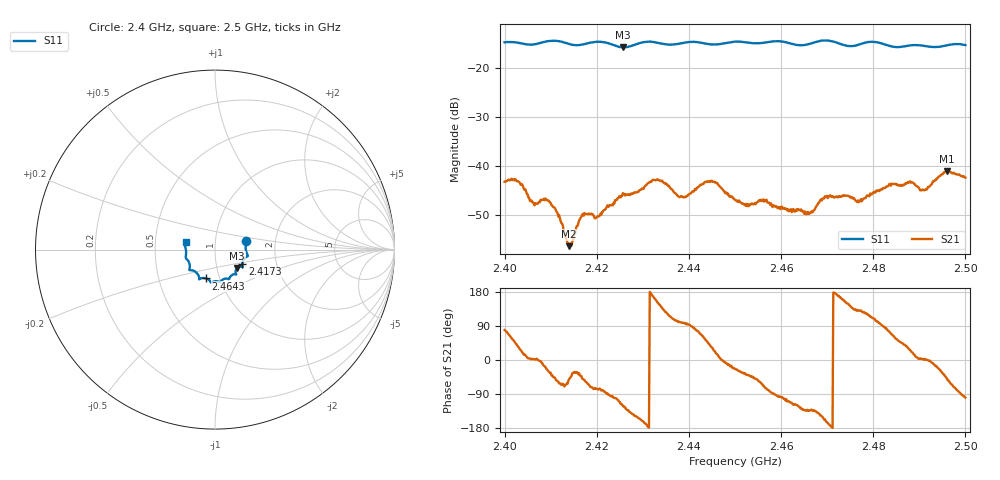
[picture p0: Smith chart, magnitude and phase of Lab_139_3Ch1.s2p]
# Hz S RI R 50
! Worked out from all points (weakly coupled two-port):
!   601 points, 2.4 GHz to 2.5 GHz, reference 50 ohm
!   highest |S21| = -41.05 dB at 2.496 GHz (marker M1); lowest = -56.2 dB at 2.414 GHz (marker M2)
!   lowest |S11| = -15.9 dB at 2.4257 GHz (marker M3), VSWR 1.38, Z = 62.5 - j13.2 ohm
!   |S11| at or under -10 dB: start of sweep to end of sweep
!   S12 and S22 are empty: the file has one direction only
!   S11 on the Smith chart (normalised r, x): 2.4 GHz: 1.41, +0.14; 2.4173 GHz: 1.34, -0.23; 2.4643 GHz: 0.86, -0.28; 2.5 GHz: 0.72, +0.06
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2.4e9  0.1736 0.0485  0.00131 0.00681  0 0  0 0
2.402833e9  0.1751 0.0353  0.00565 0.0042  0 0  0 0
2.4065e9  0.172 -0.00462  0.00399 0.000139  0 0  0 0
2.4095e9  0.1824 -0.0318  0.0039 -0.0022  0 0  0 0
2.4115e9  0.1821 -0.0364  0.00185 -0.00276  0 0  0 0
2.414e9  0.1665 -0.0471  0.000965 -0.0012  0 0  0 0
2.416667e9  0.1529 -0.0747  0.00227 -0.00207  0 0  0 0
2.417333e9  0.1519 -0.0822  0.00204 -0.00264  0 0  0 0
2.420167e9  0.1539 -0.0979  0.000718 -0.003  0 0  0 0
2.425667e9  0.1228 -0.1026  -0.00277 -0.00453  0 0  0 0
2.433333e9  0.1124 -0.1373  -0.00624 0.00358  0 0  0 0
2.438833e9  0.0803 -0.1586  -0.00065 0.00476  0 0  0 0
2.445167e9  0.0539 -0.1626  0.00592 0.00357  0 0  0 0
2.45e9  0.0283 -0.1808  0.00417 -0.00185  0 0  0 0
2.464333e9  -0.0499 -0.1606  -0.00217 -0.00291  0 0  0 0
2.466667e9  -0.0759 -0.1593  -0.0023 -0.00262  0 0  0 0
2.4695e9  -0.0885 -0.166  -0.00453 -0.00198  0 0  0 0
2.477e9  -0.1263 -0.1158  -0.00284 0.00336  0 0  0 0
2.483333e9  -0.1403 -0.0898  0.00147 0.00616  0 0  0 0
2.491167e9  -0.1618 -0.0332  0.00573 0.000306  0 0  0 0
2.496e9  -0.1667 0.0197  0.00578 -0.00671  0 0  0 0
2.5e9  -0.1635 0.0426  -0.00123 -0.00754  0 0  0 0
